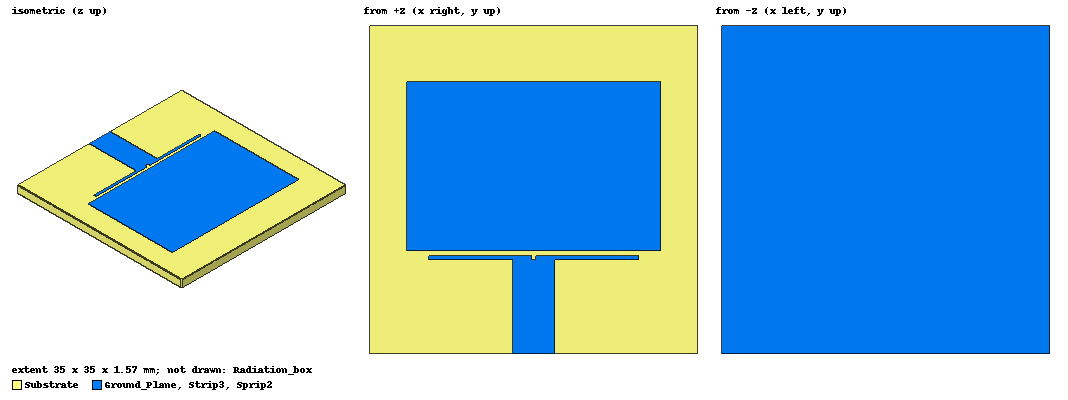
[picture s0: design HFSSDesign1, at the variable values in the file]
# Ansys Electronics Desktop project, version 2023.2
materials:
  vacuum: permittivity=1
  Rogers RT/duroid 5870 (tm): permittivity=2.33 dielectric_loss_tangent=0.0012
  air: permittivity=1.0006 permeability=1.0000004

design HFSSDesign1 (HFSS, HFSS Terminal Network, model units mm)
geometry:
  Ground_Plane = rectangle(corner=(0mm, 0mm, 0mm), x_size=35mm, y_size=35mm)
  Substrate [Rogers RT/duroid 5870 (tm)] = box(corner=(0mm, 0mm, 0mm), size=(35mm, 35mm, 1.57mm))
  Strip1 = rectangle(corner=(15.25mm, 0mm, 1.57mm), x_size=4.5mm, y_size=10mm)
  Sprip2 = rectangle(corner=(6.25mm, 10mm, 1.57mm), x_size=22.5mm, y_size=0.5mm)
  Strip3 = rectangle(corner=(4mm, 11mm, 1.57mm), x_size=27mm, y_size=18mm)
  Circle1 = circle(normal=Z, centre=(17.5mm, 10.25mm, 1.57mm), radius=0.25mm)
  Port1 = rectangle(corner=(15.25mm, 0mm, 1.57mm), z_size=-1.57mm, x_size=4.5mm)
  Sprip2.unite(Strip1)
  Sprip2.subtract(Circle1)
  Radiation_box [air] = box(corner=(-6.5mm, -6.5mm, -4mm), size=(48mm, 48mm, 8mm))
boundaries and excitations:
  PerfE1: Perfect E Objects=[Strip3, Sprip2, Ground_Plane]
  Rad1: Radiation Objects=Radiation_box
  1: Lumped Port Objects=Port1 LumpedPortType=Modal Modes{Mode1{IntLine{(17.5, 0, 0) -> (17.5, 0, 1.57)} CharImp=Zpi RenormImp=50ohm}} Impedance=50ohm
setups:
  Setup1: HfssDriven Frequency=4.9GHz MaxDeltaS=0.02 MaximumPasses=6 MinimumPasses=1 MinimumConvergedPasses=1 PercentRefinement=30 BasisOrder=1 PortAccuracy=2 DrivenSolverType="Direct Solver"
    sweep Sweep: 3GHz to 13GHz, 401 points; Type=Interpolating InterpTolerance=0.5 InterpMaxSolns=250 PassivityErrorTolerance=0.0001
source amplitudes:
  1:1: 1V 0deg
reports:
  S Parameter Plot 1: dB(S(1,1)) vs Freq on Setup1 : Sweep
